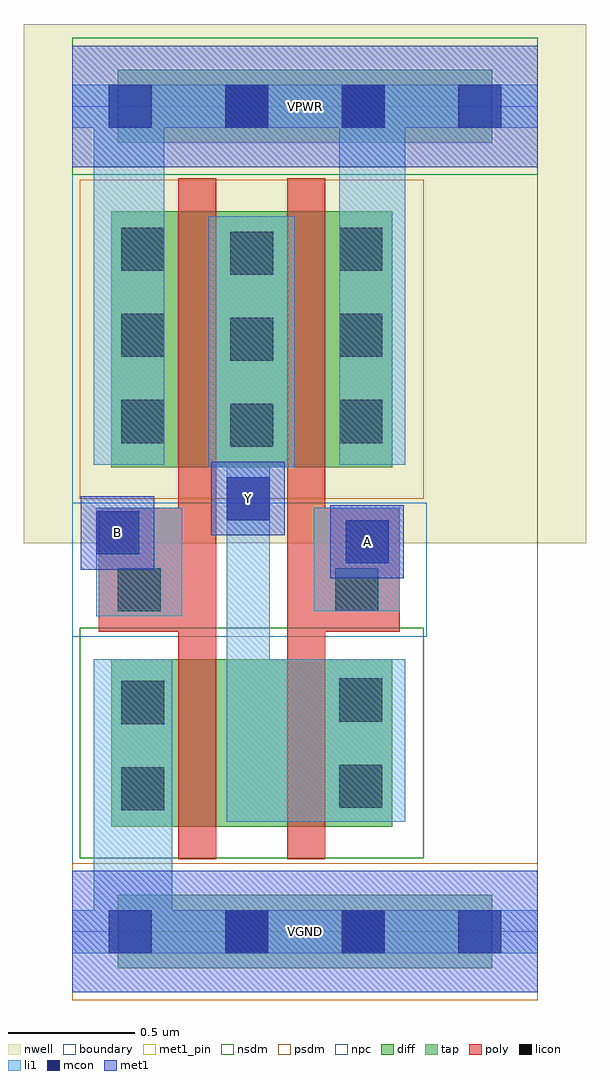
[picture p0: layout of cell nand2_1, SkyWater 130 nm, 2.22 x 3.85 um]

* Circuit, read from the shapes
.subckt nand2_1 A B VGND VPWR Y
XM1 n1 B VGND VGND sky130_fd_pr__nfet_01v8 w=0.66 l=0.15
XM2 Y A n1 VGND sky130_fd_pr__nfet_01v8 w=0.66 l=0.15
XM3 Y B VPWR VPWR sky130_fd_pr__pfet_01v8 w=1.01 l=0.15
XM4 VPWR A Y VPWR sky130_fd_pr__pfet_01v8 w=1.01 l=0.15
.ends

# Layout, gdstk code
import gdstk
lib = gdstk.Library(unit=1e-6, precision=1e-09)
def R(c, l, rs):  # rectangles x0, y0, x1, y1
    for r in rs: c.add(gdstk.rectangle(r[:2], r[2:], *l))
def A(c, l, x, y, w, h, nx, ny, dx, dy):  # array of equal rectangles
    R(c, l, [(x+i*dx, y+j*dy, x+i*dx+w, y+j*dy+h) for i in range(nx) for j in range(ny)])
nwell = (64, 20)
diff = (65, 20)
tap = (65, 44)
poly = (66, 20)
licon = (66, 44)
li1 = (67, 20)
mcon = (67, 44)
met1_pin = (68, 16)
met1 = (68, 20)
nsdm = (93, 44)
psdm = (94, 20)
npc = (95, 20)
boundary = (235, 4)

nand2_1 = lib.new_cell('nand2_1')
R(nand2_1, nwell, [(-0.19,1.535,2.03,3.585), (0,1.535,1.84,3.585)])
R(nand2_1, diff, [(0.155,0.415,1.265,1.075), (0.155,1.835,1.265,2.845)])
R(nand2_1, tap, [(0.18,-0.145,1.66,0.145), (0.18,3.115,1.66,3.405)])
R(nand2_1, poly, [(0.42,0.285,0.57,2.975), (0.85,0.285,1,2.975), (0.105,1.185,0.57,1.675), (0.85,1.185,1.295,1.675)])
A(nand2_1, licon, 0.625, 1.915, 0.17, 0.17, 1, 3, 0, 0.34)
A(nand2_1, licon, 0.195, 1.93, 0.17, 0.17, 1, 3, 0, 0.34)
A(nand2_1, licon, 1.055, 1.93, 0.17, 0.17, 1, 3, 0, 0.34)
R(nand2_1, licon, [(0.605,-0.085,0.775,0.085), (1.065,-0.085,1.235,0.085), (0.195,0.48,0.365,0.65), (1.055,0.49,1.225,0.66), (0.195,0.82,0.365,0.99), (1.055,0.83,1.225,1), (0.18,1.265,0.35,1.435), (1.04,1.265,1.21,1.435), (0.605,3.175,0.775,3.345), (1.065,3.175,1.235,3.345)])
R(nand2_1, li1, [(0,-0.085,1.84,0.085), (0.085,-0.085,0.395,1.075), (0.61,0.435,1.315,1.075), (0.61,0.435,0.78,2.825), (0.095,1.245,0.435,1.675), (0.955,1.265,1.295,1.675), (0.54,1.835,0.88,2.825), (0.085,1.845,0.365,3.345), (1.055,1.845,1.315,3.345), (0,3.175,1.84,3.345)])
A(nand2_1, mcon, 0.145, -0.085, 0.17, 0.17, 4, 2, 0.46, 3.26)
R(nand2_1, mcon, [(1.08,1.455,1.25,1.625), (0.095,1.49,0.265,1.66), (0.61,1.625,0.78,1.795)])
R(nand2_1, met1_pin, [(0,-0.24,1.84,0.24), (1.02,1.395,1.31,1.685), (0.035,1.43,0.325,1.72), (0.55,1.565,0.84,1.855), (0,3.02,1.84,3.5)])
R(nand2_1, met1, [(0,-0.24,1.84,0.24), (1.02,1.395,1.31,1.685), (0.035,1.43,0.325,1.72), (0.55,1.565,0.84,1.855), (0,3.02,1.84,3.5)])
R(nand2_1, nsdm, [(0.03,0.29,1.39,1.2), (0,2.99,1.84,3.53)])
R(nand2_1, psdm, [(0,-0.27,1.84,0.27), (0.03,1.71,1.39,2.97)])
R(nand2_1, npc, [(0,1.165,1.4,1.695)])
R(nand2_1, boundary, [(0,0,1.84,3.26)])
nand2_1.add(gdstk.Label('A', (1.165,1.54), layer=68, texttype=5))
nand2_1.add(gdstk.Label('B', (0.18,1.575), layer=68, texttype=5))
nand2_1.add(gdstk.Label('Y', (0.695,1.71), layer=68, texttype=5))
nand2_1.add(gdstk.Label('VPWR', (0.92,3.26), layer=68, texttype=5))
nand2_1.add(gdstk.Label('VGND', (0.92,0), layer=68, texttype=5))
nand2_1.add(gdstk.Label('A', (1.165,1.54), layer=68, texttype=16))
nand2_1.add(gdstk.Label('B', (0.18,1.575), layer=68, texttype=16))
nand2_1.add(gdstk.Label('Y', (0.695,1.71), layer=68, texttype=16))
nand2_1.add(gdstk.Label('VPWR', (0.92,3.26), layer=68, texttype=16))
nand2_1.add(gdstk.Label('VGND', (0.92,0), layer=68, texttype=16))

lib.write_gds('nand2_1.gds')
